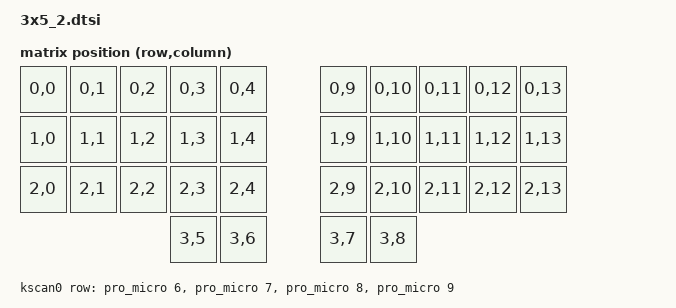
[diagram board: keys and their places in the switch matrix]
/*
 * Copyright (c) 2020 The ZMK Contributors
 *
 * SPDX-License-Identifier: MIT
 */

#include <dt-bindings/zmk/matrix_transform.h>

/*
╭──────────────╮ ╭──────────────╮
│ 0  1  2  3  4│ │ 5  6  7  8  9│
│10 11 12 13 14│ │15 16 17 18 19│
│20 21 22 23 24│ │25 26 27 28 29│
╰────────╮30 31│ │32 33╭────────╯
         ╰─────╯ ╰─────╯  
*/

/ {

	chosen {
        // zephyr,display = &oled;
        zmk,kscan = &kscan0;
        zmk,matrix_transform = &default_transform;
    };

    default_transform: keymap_transform_0 {
        compatible = "zmk,matrix-transform";
        columns = <14>;
        rows = <4>;

		map = <
            RC(0,0) RC(0,1) RC(0,2) RC(0,3) RC(0,4)                                 RC(0,9) RC(0,10) RC(0,11) RC(0,12) RC(0,13)
            RC(1,0) RC(1,1) RC(1,2) RC(1,3) RC(1,4)                                 RC(1,9) RC(1,10) RC(1,11) RC(1,12) RC(1,13)
            RC(2,0) RC(2,1) RC(2,2) RC(2,3) RC(2,4)                                 RC(2,9) RC(2,10) RC(2,11) RC(2,12) RC(2,13)
                                                    RC(3,5) RC(3,6) RC(3,7) RC(3,8)
        >;
	};

	kscan0: kscan {
        compatible = "zmk,kscan-gpio-matrix";
        diode-direction = "col2row";
        row-gpios
            = <&pro_micro 6 (GPIO_ACTIVE_HIGH | GPIO_PULL_DOWN)> // ROW0
            , <&pro_micro 7 (GPIO_ACTIVE_HIGH | GPIO_PULL_DOWN)> // ROW1
            , <&pro_micro 8 (GPIO_ACTIVE_HIGH | GPIO_PULL_DOWN)> // ROW2
            , <&pro_micro 9 (GPIO_ACTIVE_HIGH | GPIO_PULL_DOWN)> // ROW3
        ;
        // col-gpios
        //     = <&pro_micro 21 (GPIO_ACTIVE_HIGH)> // PINKY:  COL0 & COL13
        //     , <&pro_micro 20 (GPIO_ACTIVE_HIGH)> // RING:   COL1 & COL12
        //     , <&pro_micro 19 (GPIO_ACTIVE_HIGH)> // MIDDLE: COL2 & COL11
        //     , <&pro_micro 18 (GPIO_ACTIVE_HIGH)> // INDEX:  COL3 & COL10
        //     , <&pro_micro 15 (GPIO_ACTIVE_HIGH)> // INNER:  COL4 & COL9
        //     // THUMB
        //     , <&pro_micro 16 (GPIO_ACTIVE_HIGH)> // OUTER:  COL5 & COL8
        //     , <&pro_micro 10 (GPIO_ACTIVE_HIGH)> // INNER:  COL6 & COL7
        // ;
        };
};
